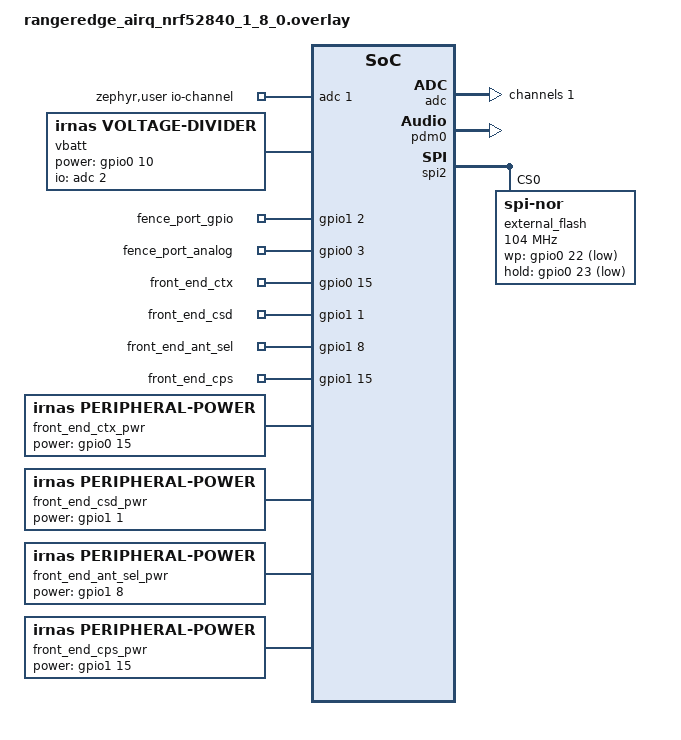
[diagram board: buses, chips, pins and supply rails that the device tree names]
/ {
    zephyr,user {
        io-channels = <&adc 1>;
    };

    vbatt {
        compatible = "irnas,voltage-divider";
        io-channels = <&adc 2>;
        lower-resistor-ohms = <390>;
        upper-resistor-ohms = <220>;
        power-gpios = <&gpio0 10 GPIO_ACTIVE_HIGH>;
        power-startup-delay-ms = <200>;
        status = "okay";
    };

    pins: pins {
        compatible = "gpio-keys";
        fence_port_gpio: fence_port_gpio {
            gpios = <&gpio1 2 GPIO_ACTIVE_HIGH>;
        };

        fence_port_analog: fence_port_analog {
            gpios = <&gpio0 3 GPIO_ACTIVE_HIGH>;
        };

        front_end_ctx: front_end_ctx {
            gpios = <&gpio0 15 GPIO_ACTIVE_HIGH>;
        };

        front_end_csd: front_end_csd {
            gpios = <&gpio1 1 GPIO_ACTIVE_HIGH>;
        };

        front_end_ant_sel: front_end_ant_sel {
            gpios = <&gpio1 8 GPIO_ACTIVE_HIGH>;
        };

        front_end_cps: front_end_cps {
            gpios = <&gpio1 15 GPIO_ACTIVE_HIGH>;
        };
    };

    front_end_ctx_pwr  {
        compatible = "irnas,peripheral-power";
        power-gpios = <&gpio0 15 GPIO_ACTIVE_HIGH>;
        initial-state = <0>;
        status = "okay";
    };

    front_end_csd_pwr  {
        compatible = "irnas,peripheral-power";
        power-gpios = <&gpio1 1 GPIO_ACTIVE_HIGH>;
        initial-state = <0>;
        status = "okay";
    };

    front_end_ant_sel_pwr  {
        compatible = "irnas,peripheral-power";
        power-gpios = <&gpio1 8 GPIO_ACTIVE_HIGH>;
        initial-state = <0>;
        status = "okay";
    };

    front_end_cps_pwr  {
        compatible = "irnas,peripheral-power";
        power-gpios = <&gpio1 15 GPIO_ACTIVE_HIGH>;
        initial-state = <0>;
        status = "okay";
    };

    chosen{
        /delete-property/ nordic,pm-ext-flash;
    };

    aliases{
        external-flash = &external_flash;
    };
};

&adc {
    status = "okay";

    #address-cells = <1>;
    #size-cells = <0>;

    channel@1 {
        reg = <1>;
        zephyr,gain = "ADC_GAIN_1_6";
        zephyr,reference = "ADC_REF_INTERNAL";
        zephyr,acquisition-time = <ADC_ACQ_TIME_DEFAULT>; /* 10 us by defoult */
        zephyr,input-positive = <NRF_SAADC_AIN1>; /* P0.03 */
        zephyr,resolution = <12>;
        zephyr,vref-mv = <2800>;
    };
};

dmic_dev: &pdm0 {
    status = "okay";
    clock-source = "PCLK32M_HFXO";
    #address-cells = <0x1>;
    #size-cells = <0x0>;
    t5838: t5838@53 {
        status = "disabled"; /* Microphone disabled because it's not in use and to achieve low power */
        compatible = "invensense,t5838-nrf-pdm";
        thsel-gpios = <&gpio1 10 GPIO_ACTIVE_HIGH>;
        wake-gpios = <&gpio1 9 GPIO_ACTIVE_HIGH>;
        pdmclk-gpios = <&gpio1 13 GPIO_ACTIVE_HIGH>;
        reg = <0x53>;
    };
};

&lr11xx {
    rf-sw-enable = <(LR11XX_DIO5 | LR11XX_DIO6 | LR11XX_DIO7 | LR11XX_DIO8)>;    /* all DIOs used */
    rf-sw-rx-mode = <(LR11XX_DIO5 | LR11XX_DIO7)>;    /* receive - LNA_LF0 path active */
    rf-sw-tx-mode = <(LR11XX_DIO5 | LR11XX_DIO6 | LR11XX_DIO7)>;    /* send - PA_HP_LF active */
    rf-sw-tx-hp-mode = <(LR11XX_DIO5 | LR11XX_DIO6 | LR11XX_DIO7)>;    /* same as tx because RFO_HP_LF is connected to RF switch */
    rf-sw-wifi-mode = <(LR11XX_DIO5 | LR11XX_DIO6)>;    /* WIFI_ANT path active - Temporarily selected only WIFI 2.4G path */
    rf-sw-tx-hf-mode = <(LR11XX_DIO5 | LR11XX_DIO6)>;    /* Same as Wifi path, locked on 2.4G for now */
    rf-sw-gnss-mode = <LR11XX_DIO8>;  /* GPS_LNA enable */
};

&spi2{
    external_flash: external_flash@0{
        compatible = "jedec,spi-nor";
        reg = <0>;
        spi-max-frequency = <104000000>;

        wp-gpios = <&gpio0 22 GPIO_ACTIVE_LOW>;
        hold-gpios = <&gpio0 23 GPIO_ACTIVE_LOW>;
        has-dpd;
        t-enter-dpd = <30>;
        t-exit-dpd = <30>;
    };
};

&en25qh32b{
    status = "disabled";
};
